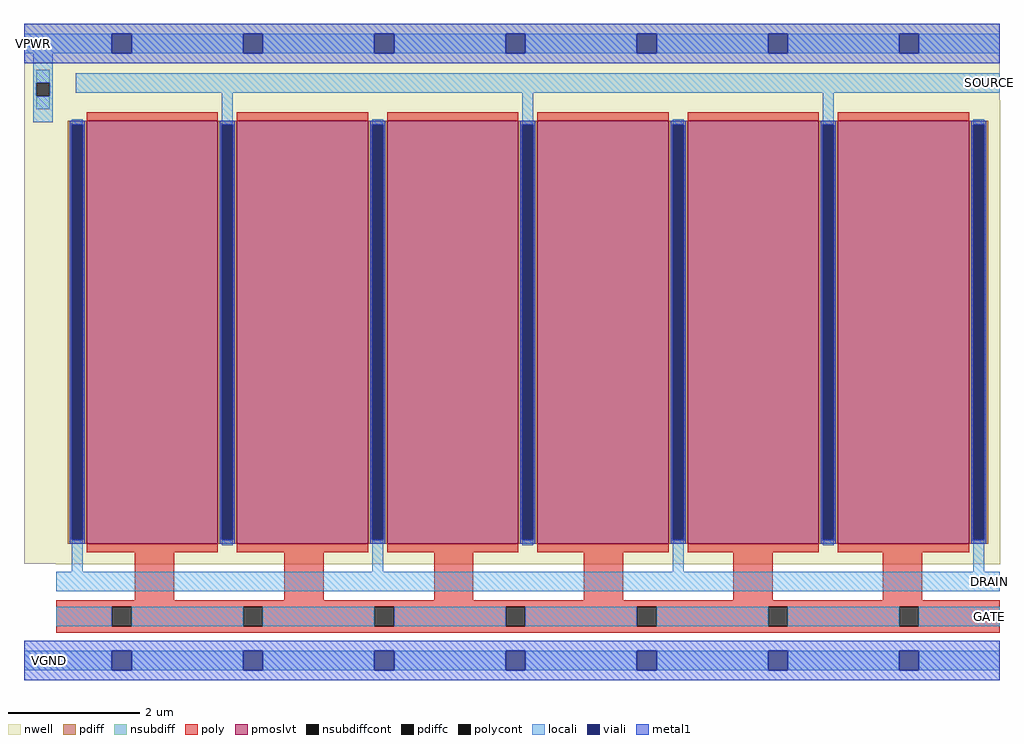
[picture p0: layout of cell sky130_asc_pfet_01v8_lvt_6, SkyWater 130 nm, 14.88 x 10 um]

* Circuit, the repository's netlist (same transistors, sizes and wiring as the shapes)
* NGSPICE file created from sky130_asc_pfet_01v8_lvt_6.ext - technology: sky130A

.subckt sky130_asc_pfet_01v8_lvt_6 GATE SOURCE DRAIN VGND VPWR
X0 SOURCE GATE DRAIN VPWR sky130_fd_pr__pfet_01v8_lvt ad=5.6115e+12p pd=4.044e+07u as=7.482e+12p ps=5.392e+07u w=6.45e+06u l=2e+06u
X1 SOURCE GATE DRAIN VPWR sky130_fd_pr__pfet_01v8_lvt ad=0p pd=0u as=0p ps=0u w=6.45e+06u l=2e+06u
X2 DRAIN GATE SOURCE VPWR sky130_fd_pr__pfet_01v8_lvt ad=0p pd=0u as=0p ps=0u w=6.45e+06u l=2e+06u
X3 DRAIN GATE SOURCE VPWR sky130_fd_pr__pfet_01v8_lvt ad=0p pd=0u as=0p ps=0u w=6.45e+06u l=2e+06u
X4 SOURCE GATE DRAIN VPWR sky130_fd_pr__pfet_01v8_lvt ad=0p pd=0u as=0p ps=0u w=6.45e+06u l=2e+06u
X5 DRAIN GATE SOURCE VPWR sky130_fd_pr__pfet_01v8_lvt ad=0p pd=0u as=0p ps=0u w=6.45e+06u l=2e+06u
.ends

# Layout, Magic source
magic
tech sky130A
magscale 1 2
<< nwell >>
rect 90 1707 3064 1940
rect 90 294 3065 1707
rect 187 293 3065 294
<< pmoslvt >>
rect 281 355 681 1645
rect 739 355 1139 1645
rect 1197 355 1597 1645
rect 1655 355 2055 1645
rect 2113 355 2513 1645
rect 2571 355 2971 1645
<< pdiff >>
rect 223 1633 281 1645
rect 223 367 235 1633
rect 269 367 281 1633
rect 223 355 281 367
rect 681 1633 739 1645
rect 681 367 693 1633
rect 727 367 739 1633
rect 681 355 739 367
rect 1139 1633 1197 1645
rect 1139 367 1151 1633
rect 1185 367 1197 1633
rect 1139 355 1197 367
rect 1597 1633 1655 1645
rect 1597 367 1609 1633
rect 1643 367 1655 1633
rect 1597 355 1655 367
rect 2055 1633 2113 1645
rect 2055 367 2067 1633
rect 2101 367 2113 1633
rect 2055 355 2113 367
rect 2513 1633 2571 1645
rect 2513 367 2525 1633
rect 2559 367 2571 1633
rect 2513 355 2571 367
rect 2971 1633 3029 1645
rect 2971 367 2983 1633
rect 3017 367 3029 1633
rect 2971 355 3029 367
<< pdiffc >>
rect 235 367 269 1633
rect 693 367 727 1633
rect 1151 367 1185 1633
rect 1609 367 1643 1633
rect 2067 367 2101 1633
rect 2525 367 2559 1633
rect 2983 367 3017 1633
<< nsubdiff >>
rect 128 1760 168 1800
rect 128 1680 168 1720
<< nsubdiffcont >>
rect 128 1720 168 1760
<< poly >>
rect 281 1645 681 1671
rect 739 1645 1139 1671
rect 1197 1645 1597 1671
rect 1655 1645 2055 1671
rect 2113 1645 2513 1671
rect 2571 1645 2971 1671
rect 281 329 681 355
rect 739 329 1139 355
rect 1197 329 1597 355
rect 1655 329 2055 355
rect 2113 329 2513 355
rect 2571 329 2971 355
rect 428 184 548 329
rect 884 184 1004 329
rect 1340 184 1460 329
rect 1796 184 1916 329
rect 2252 184 2372 329
rect 2708 184 2828 329
rect 188 164 3064 184
rect 188 104 358 164
rect 418 104 758 164
rect 818 104 1158 164
rect 1218 104 1558 164
rect 1618 104 1958 164
rect 2018 104 2358 164
rect 2418 104 2758 164
rect 2818 104 3064 164
rect 188 84 3064 104
<< polycont >>
rect 358 104 418 164
rect 758 104 818 164
rect 1158 104 1218 164
rect 1558 104 1618 164
rect 1958 104 2018 164
rect 2358 104 2418 164
rect 2758 104 2818 164
<< locali >>
rect 90 1850 358 1910
rect 418 1850 758 1910
rect 818 1850 1158 1910
rect 1218 1850 1558 1910
rect 1618 1850 1958 1910
rect 2018 1850 2358 1910
rect 2418 1850 2758 1910
rect 2818 1850 3064 1910
rect 118 1760 178 1850
rect 118 1720 128 1760
rect 168 1720 178 1760
rect 248 1730 3064 1790
rect 118 1640 178 1720
rect 235 1633 269 1649
rect 235 270 269 367
rect 693 1633 727 1730
rect 693 351 727 367
rect 1151 1633 1185 1649
rect 1151 270 1185 367
rect 1609 1633 1643 1730
rect 1609 351 1643 367
rect 2067 1633 2101 1649
rect 2067 270 2101 367
rect 2525 1633 2559 1730
rect 2525 351 2559 367
rect 2983 1633 3017 1649
rect 2983 270 3017 367
rect 188 210 3064 270
rect 188 104 358 164
rect 418 104 758 164
rect 818 104 1158 164
rect 1218 104 1558 164
rect 1618 104 1958 164
rect 2018 104 2358 164
rect 2418 104 2758 164
rect 2818 104 3064 164
rect 90 -30 358 30
rect 418 -30 758 30
rect 818 -30 1158 30
rect 1218 -30 1558 30
rect 1618 -30 1958 30
rect 2018 -30 2358 30
rect 2418 -30 2758 30
rect 2818 -30 3064 30
<< viali >>
rect 358 1850 418 1910
rect 758 1850 818 1910
rect 1158 1850 1218 1910
rect 1558 1850 1618 1910
rect 1958 1850 2018 1910
rect 2358 1850 2418 1910
rect 2758 1850 2818 1910
rect 235 367 269 1633
rect 693 367 727 1633
rect 1151 367 1185 1633
rect 1609 367 1643 1633
rect 2067 367 2101 1633
rect 2525 367 2559 1633
rect 2983 367 3017 1633
rect 358 -30 418 30
rect 758 -30 818 30
rect 1158 -30 1218 30
rect 1558 -30 1618 30
rect 1958 -30 2018 30
rect 2358 -30 2418 30
rect 2758 -30 2818 30
<< metal1 >>
rect 90 1910 3064 1940
rect 90 1850 358 1910
rect 418 1850 758 1910
rect 818 1850 1158 1910
rect 1218 1850 1558 1910
rect 1618 1850 1958 1910
rect 2018 1850 2358 1910
rect 2418 1850 2758 1910
rect 2818 1850 3064 1910
rect 90 1820 3064 1850
rect 229 1633 275 1645
rect 229 367 235 1633
rect 269 367 275 1633
rect 229 355 275 367
rect 687 1633 733 1645
rect 687 367 693 1633
rect 727 367 733 1633
rect 687 355 733 367
rect 1145 1633 1191 1645
rect 1145 367 1151 1633
rect 1185 367 1191 1633
rect 1145 355 1191 367
rect 1603 1633 1649 1645
rect 1603 367 1609 1633
rect 1643 367 1649 1633
rect 1603 355 1649 367
rect 2061 1633 2107 1645
rect 2061 367 2067 1633
rect 2101 367 2107 1633
rect 2061 355 2107 367
rect 2519 1633 2565 1645
rect 2519 367 2525 1633
rect 2559 367 2565 1633
rect 2519 355 2565 367
rect 2977 1633 3023 1645
rect 2977 367 2983 1633
rect 3017 367 3023 1633
rect 2977 355 3023 367
rect 90 30 3064 60
rect 90 -30 358 30
rect 418 -30 758 30
rect 818 -30 1158 30
rect 1218 -30 1558 30
rect 1618 -30 1958 30
rect 2018 -30 2358 30
rect 2418 -30 2758 30
rect 2818 -30 3064 30
rect 90 -60 3064 -30
<< labels >>
flabel nwell 90 1850 150 1910 1 FreeSans 800 0 0 0 VPWR
port 4 n power bidirectional
flabel metal1 90 -30 248 30 1 FreeSans 800 0 0 0 VGND
port 5 n ground bidirectional
flabel locali 3004 1730 3064 1790 1 FreeSans 800 0 0 0 SOURCE
port 2 n signal bidirectional
flabel locali 3004 210 3064 270 1 FreeSans 800 0 0 0 DRAIN
port 3 n signal bidirectional
flabel locali 3004 104 3064 164 1 FreeSans 800 0 0 0 GATE
port 1 n signal bidirectional
<< properties >>
string FIXED_BBOX 0 0 3155 1880
string LEFclass CORE
string LEFsite unitasc
<< end >>
